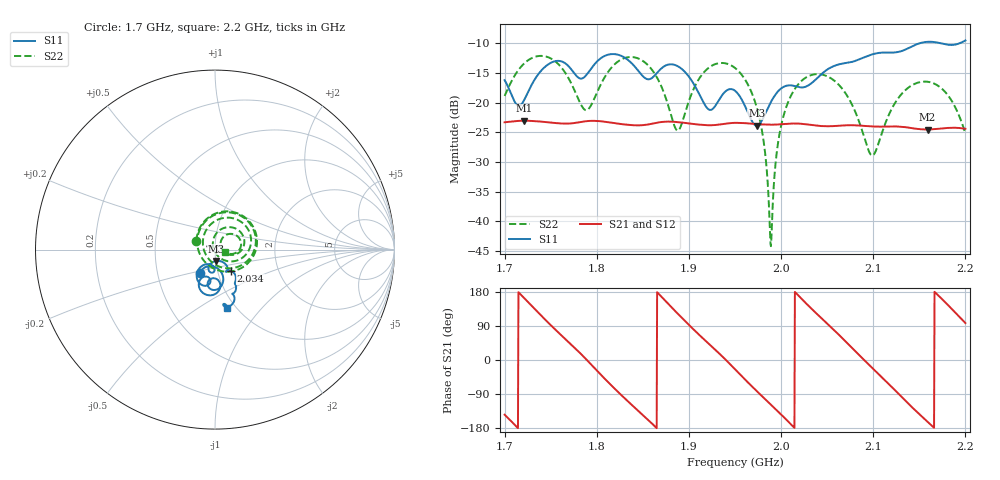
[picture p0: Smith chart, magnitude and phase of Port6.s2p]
# Hz S RI R 50
! CMT, CMT808U, 21440046, 21.4.3/4
! Date: 11/17/2025 2:42:06 PM
! Data: Format (Calibration Info)
! Freq	S11:Re/Im(F2)	S41:Re/Im(F2)	S14:Re/Im(F2)	S44:Re/Im(F2)
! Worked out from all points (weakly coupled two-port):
!   1001 points, 1.7 GHz to 2.2 GHz, reference 50 ohm
!   highest |S21| = -23.03 dB at 1.722 GHz (marker M1); lowest = -24.5 dB at 2.159 GHz (marker M2)
!   lowest |S11| = -23.9 dB at 1.974 GHz (marker M3), VSWR 1.14, Z = 50.4 - j6.42 ohm
!   |S11| at or under -10 dB: start of sweep to 2.15 GHz; 2.173 GHz to 2.194 GHz (20.28 MHz wide, 0.929 % of centre)
!   |S22| runs from -44.2 to -12.1 dB; largest |S21 - S12| = 0.00019
!   S11 on the Smith chart (normalised r, x): 1.7 GHz: 0.82, -0.22; 2.034 GHz: 1.16, -0.28; 2.2 GHz: 0.91, -0.67
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1.7e9  -0.0823 -0.1313  -0.0556 -0.0399  -0.0557 -0.0398  -0.1032 0.0486
1.7215e9  0.0151 -0.1053  -0.0673 0.0212  -0.0673 0.0213  0.0402 0.2113
1.751e9  0.02 -0.2175  0.000301 0.0679  0.000392 0.068  0.2328 0.0229
1.7835e9  -0.00438 -0.1596  0.0668 0.0171  0.0669 0.0171  -0.0361 -0.0872
1.822e9  -0.0555 -0.2485  0.00958 -0.0661  0.00947 -0.0662  0.0693 0.208
1.845e9  -0.0821 -0.1668  -0.0448 -0.0463  -0.0449 -0.0463  0.2267 0.0652
1.867e9  -0.0261 -0.1821  -0.0679 0.0058  -0.068 0.00589  0.1185 -0.0988
1.888e9  -0.0916 -0.1808  -0.0362 0.0583  -0.0362 0.0584  -0.0527 -0.025
1.922e9  -0.031 -0.0816  0.0482 0.043  0.0483 0.043  0.09 0.1766
1.95e9  -0.0311 -0.1222  0.0617 -0.0279  0.0616 -0.0281  0.1957 0.0146
1.9735e9  0.00766 -0.0635  0.00938 -0.0654  0.00928 -0.0655  0.0663 -0.0634
1.9815e9  0.0377 -0.0671  -0.0121 -0.0644  -0.0122 -0.0644  0.0203 -0.0399
1.989e9  0.0596 -0.0821  -0.0307 -0.0576  -0.0308 -0.0576  -0.00604 -0.00136
1.9955e9  0.0695 -0.0997  -0.0448 -0.0478  -0.0449 -0.0477  -0.0121 0.0373
2.003e9  0.0695 -0.1173  -0.0577 -0.0322  -0.0578 -0.0321  0.000118 0.0792
2.0335e9  0.0881 -0.1178  -0.0451 0.0465  -0.0451 0.0466  0.138 0.1019
2.0675e9  0.1114 -0.1828  0.0367 0.0528  0.0368 0.0528  0.1258 -0.0218
2.098e9  0.1158 -0.2261  0.0598 -0.0202  0.0598 -0.0203  0.0351 0.00885
2.117e9  0.0966 -0.2458  0.0281 -0.0565  0.0281 -0.0565  0.0432 0.0665
2.159e9  0.0783 -0.3161  -0.0569 -0.0173  -0.0569 -0.0172  0.1447 0.0398
2.181e9  0.0464 -0.3041  -0.0504 0.035  -0.0503 0.035  0.114 -0.0192
2.2e9  0.0673 -0.3275  -0.00793 0.0598  -0.00786 0.0598  0.0542 -0.011
